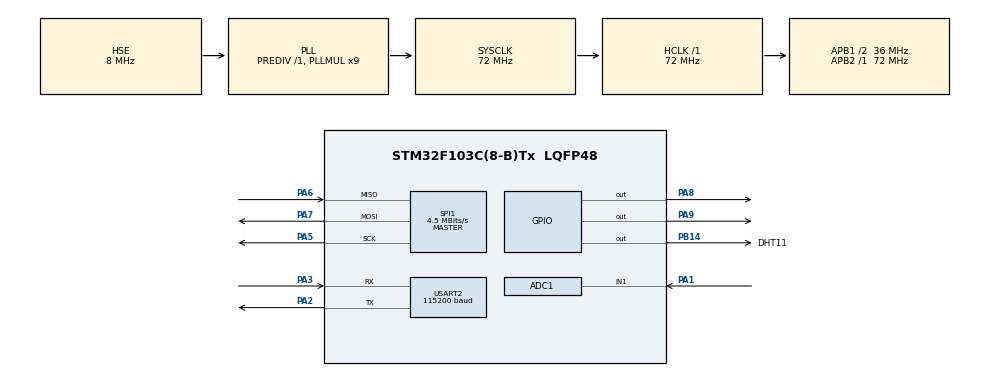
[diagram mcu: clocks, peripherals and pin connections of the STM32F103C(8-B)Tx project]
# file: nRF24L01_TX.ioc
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ADC1.Channel-0\#ChannelRegularConversion=ADC_CHANNEL_1
ADC1.ContinuousConvMode=ENABLE
ADC1.NbrOfConversionFlag=1
ADC1.Rank-0\#ChannelRegularConversion=1
ADC1.SamplingTime-0\#ChannelRegularConversion=ADC_SAMPLETIME_1CYCLE_5
ADC1.master=1
Mcu.Family=STM32F1
Mcu.Name=STM32F103C(8-B)Tx
Mcu.Package=LQFP48
NVIC.PriorityGroup=NVIC_PRIORITYGROUP_4
NVIC.TIM4_IRQn=true\:1\:0\:true\:false\:true\:true\:true
PA1.Signal=ADCx_IN1
PA13.Mode=Serial_Wire
PA13.Signal=SYS_JTMS-SWDIO
PA14.Mode=Serial_Wire
PA14.Signal=SYS_JTCK-SWCLK
PA2.Mode=Asynchronous
PA2.Signal=USART2_TX
PA3.Mode=Asynchronous
PA3.Signal=USART2_RX
PA5.Mode=Full_Duplex_Master
PA5.Signal=SPI1_SCK
PA6.Mode=Full_Duplex_Master
PA6.Signal=SPI1_MISO
PA7.Mode=Full_Duplex_Master
PA7.Signal=SPI1_MOSI
PA8.Signal=GPIO_Output
PA9.Signal=GPIO_Output
PB14.GPIO_Label=DHT11
PB14.GPIO_Speed=GPIO_SPEED_FREQ_HIGH
PB14.PinState=GPIO_PIN_SET
PB14.Signal=GPIO_Output
PD0-OSC_IN.Mode=HSE-External-Oscillator
PD0-OSC_IN.Signal=RCC_OSC_IN
PD1-OSC_OUT.Mode=HSE-External-Oscillator
PD1-OSC_OUT.Signal=RCC_OSC_OUT
ProjectManager.HeapSize=0x200
ProjectManager.StackSize=0x400
ProjectManager.TargetToolchain=MDK-ARM V5
RCC.ADCPresc=RCC_ADCPCLK2_DIV6
RCC.AHBFreq_Value=72000000
RCC.APB1CLKDivider=RCC_HCLK_DIV2
RCC.APB1Freq_Value=36000000
RCC.APB1TimFreq_Value=72000000
RCC.APB2Freq_Value=72000000
RCC.APB2TimFreq_Value=72000000
RCC.HCLKFreq_Value=72000000
RCC.PLLMUL=RCC_PLL_MUL9
RCC.PLLSourceVirtual=RCC_PLLSOURCE_HSE
RCC.SYSCLKFreq_VALUE=72000000
RCC.SYSCLKSource=RCC_SYSCLKSOURCE_PLLCLK
RCC.USBFreq_Value=72000000
SH.ADCx_IN1.0=ADC1_IN1,IN1
SPI1.BaudRatePrescaler=SPI_BAUDRATEPRESCALER_16
SPI1.CalculateBaudRate=4.5 MBits/s
SPI1.Direction=SPI_DIRECTION_2LINES
SPI1.Mode=SPI_MODE_MASTER
SPI1.VirtualType=VM_MASTER
TIM2.Prescaler=72-1
TIM3.Prescaler=72-1
TIM4.Period=9999
TIM4.Prescaler=36000-1
USART2.BaudRate=115200
USART2.VirtualMode=VM_ASYNC
VP_TIM2_VS_ClockSourceINT.Mode=Internal
VP_TIM3_VS_ClockSourceINT.Mode=Internal
VP_TIM4_VS_ClockSourceINT.Mode=Internal
board=custom

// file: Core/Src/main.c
/* USER CODE BEGIN Header */
/**
  ******************************************************************************
  * @file           : main.c
  * @brief          : Main program body
  ******************************************************************************
  * @attention
  *
  * <h2><center>&copy; Copyright (c) 2021 STMicroelectronics.
  * All rights reserved.</center></h2>
  *
  * This software component is licensed by ST under BSD 3-Clause license,
  * the "License"; You may not use this file except in compliance with the
  * License. You may obtain a copy of the License at:
  *                        opensource.org/licenses/BSD-3-Clause
  *
  ******************************************************************************
  */
/* USER CODE END Header */
#include "main.h"

/* USER CODE BEGIN Includes */
#include "NRF24L01.h"
#include "stdio.h"
#include "string.h"
#include "stdint.h"
/* USER CODE END Includes */

ADC_HandleTypeDef hadc1;

SPI_HandleTypeDef hspi1;

TIM_HandleTypeDef htim2;
TIM_HandleTypeDef htim3;
TIM_HandleTypeDef htim4;

UART_HandleTypeDef huart2;

/* USER CODE BEGIN PV */
uint8_t TxAdrdress[]={0x00,0xDD,0xCC,0xBB,0xAA};
//uint8_t TxAdrdress1[]={0x11,0xDD,0xCC,0xBB,0xAA};
//uint8_t TxAdrdress2[]={0x22,0xDD,0xCC,0xBB,0xAA};

uint8_t TxData1[32];

float voltage_value,adc_value,moisture_value;
int moisturefinal=0;

uint16_t rh_byte1,rh_byte2, temp_byte1,temp_byte2;
uint16_t sum,rh,temp,presence=0;
int temperature=0,humidity=0;
/* USER CODE END PV */

void SystemClock_Config(void);
static void MX_GPIO_Init(void);
static void MX_SPI1_Init(void);
static void MX_TIM2_Init(void);
static void MX_USART2_UART_Init(void);
static void MX_TIM4_Init(void);
static void MX_ADC1_Init(void);
static void MX_TIM3_Init(void);
/* USER CODE BEGIN PFP */
void delay(uint16_t time)
{
	__HAL_TIM_SET_COUNTER(&htim2,0);
	while((__HAL_TIM_GET_COUNTER(&htim2))<time);
}

void set_pin_output(GPIO_TypeDef *GPIOx, uint16_t GPIO_Pin)
{
	GPIO_InitTypeDef GPIO_InitStruct = {0};
	GPIO_InitStruct.Pin = GPIO_Pin;
  GPIO_InitStruct.Mode = GPIO_MODE_OUTPUT_PP;
  GPIO_InitStruct.Speed = GPIO_SPEED_FREQ_LOW;
  HAL_GPIO_Init(GPIOx, &GPIO_InitStruct);
}
void set_pin_input(GPIO_TypeDef *GPIOx, uint16_t GPIO_Pin)
{
	GPIO_InitTypeDef GPIO_InitStruct = {0};
	GPIO_InitStruct.Pin = GPIO_Pin;
  GPIO_InitStruct.Mode = GPIO_MODE_INPUT;
  GPIO_InitStruct.Pull = GPIO_NOPULL;
  HAL_GPIO_Init(GPIOx, &GPIO_InitStruct);
}
void dht11_init(void)
{
	set_pin_output(DHT11_GPIO_Port,DHT11_Pin);
	HAL_GPIO_WritePin(DHT11_GPIO_Port,DHT11_Pin,GPIO_PIN_RESET);
	HAL_Delay(25);
	HAL_GPIO_WritePin(DHT11_GPIO_Port,DHT11_Pin,GPIO_PIN_SET);
	delay(30);
	set_pin_input(DHT11_GPIO_Port,DHT11_Pin);

}
short check_response(){
  delay(40);
  if(!HAL_GPIO_ReadPin(DHT11_GPIO_Port,DHT11_Pin)){                     // Read and test if connection pin is low
    delay(80);
    if(HAL_GPIO_ReadPin(DHT11_GPIO_Port,DHT11_Pin)){                    // Read and test if connection pin is high
      delay(50);
      return 1;}
    }
	return 0;
}

uint8_t read(void)
{
	uint8_t i,j;
	for(j=0;j<8;j++)
	{
		while (!(HAL_GPIO_ReadPin (DHT11_GPIO_Port,DHT11_Pin)));
		delay(40);
		if(!HAL_GPIO_ReadPin (DHT11_GPIO_Port, DHT11_Pin))
		{
			i&= ~(1<<(7-j));
		}
		else
		{
			i|= (1<<(7-j));
		}
		while ((HAL_GPIO_ReadPin (DHT11_GPIO_Port,DHT11_Pin)));

  }
			return i	;
}
void ParseData(char * TxData, uint8_t temp, uint8_t humi, uint8_t moil){
	char Temperature[10];
	char Humidity[10];
	char Doamdat[10];
	for (int i=0;i<strlen(TxData);i++){
		TxData[i]=0;
	}
	sprintf(Doamdat,"%d",moil);
	sprintf(Temperature,"%d",temp);
	sprintf(Humidity,"%d",humi);

	strcat(TxData,"{\"T1\":\"");
	strcat(TxData,Temperature);
	strcat(TxData,"\",");

	strcat(TxData,"\"H1\":\"");
	strcat(TxData,Humidity);
	strcat(TxData,"\",");

	strcat(TxData,"\"M1\":\"");
	strcat(TxData,Doamdat);
	strcat(TxData,"\"}");
}
void getdata(){
	HAL_TIM_Base_Start(&htim2);
	dht11_init();
	presence=check_response();
	rh_byte1=read();
	rh_byte2=read();
	temp_byte1=read();
	temp_byte2=read();
	sum=read();
	temp=temp_byte1;
	rh=rh_byte1;
	temperature=(int) temp;//temp
	humidity=(int) rh;//humi
	adc_value= HAL_ADC_GetValue(&hadc1);
	voltage_value=(adc_value/4096)*3.3;
	moisture_value= (100-(voltage_value/3.3)*100);
	moisturefinal = (int)moisture_value;//mois
}
/* USER CODE END PFP */

/* USER CODE BEGIN 0 */
//void HAL_GPIO_EXTI_Callback(uint16_t GPIO_Pin)
//{
//  /* Prevent unused argument(s) compilation warning */
//  UNUSED(GPIO_Pin);
//
//		HAL_GPIO_TogglePin(GPIOA,GPIO_PIN_1);
////	HAL_UART_Transmit(&huart2, "hello",5,100);

//
////	HAL_GPIO_WritePin(GPIOA,GPIO_PIN_1,GPIO_PIN_SET);
//  /* NOTE: This function Should not be modified, when the callback is needed,
//           the HAL_GPIO_EXTI_Callback could be implemented in the user file
//   */
//}
#ifdef __GNUC__
#define PUTCHAR_PROTOTYPE int __io_putchar(int ch)
#else
#define PUTCHAR_PROTOTYPE int fputc(int ch, FILE *f)
#endif /* __GNUC__ */

/**
  * @brief  Retargets the C library printf function to the USART.
  * @param  None
  * @retval None
  */
PUTCHAR_PROTOTYPE
{
  HAL_UART_Transmit(&huart2, (uint8_t *)&ch, 1, HAL_MAX_DELAY);
  return ch;
}

void HAL_TIM_PeriodElapsedCallback(TIM_HandleTypeDef *htim)
{
  /* Prevent unused argument(s) compilation warning */
	HAL_ResumeTick();
	getdata();
	ParseData((char *)TxData1,temperature, humidity,moisturefinal);

	NRF24_Transmit(TxData1);

//	printf("hello");
//	printf("%s",TxData1);`

  /* NOTE : This function should not be modified, when the callback is needed,
            the HAL_TIM_PeriodElapsedCallback could be implemented in the user file
   */
}
/* USER CODE END 0 */

int main(void)
{

  /* MCU Configuration--------------------------------------------------------*/

  /* Reset of all peripherals, Initializes the Flash interface and the Systick. */
  HAL_Init();

  /* Configure the system clock */
  SystemClock_Config();

  /* Initialize all configured peripherals */
  MX_GPIO_Init();
  MX_SPI1_Init();
  MX_TIM2_Init();
  MX_USART2_UART_Init();
  MX_TIM4_Init();
  MX_ADC1_Init();
  MX_TIM3_Init();
  /* USER CODE BEGIN 2 */
	HAL_TIM_Base_Start_IT(&htim4);
	HAL_ADC_Start(&hadc1);
	NRF24_Init();
	NRF24_TxMode(TxAdrdress, 10);

  /* USER CODE END 2 */

  /* Infinite loop */
  while (1)
  {

    /* USER CODE BEGIN 3 */
		HAL_SuspendTick();
		HAL_PWR_EnterSLEEPMode(PWR_LOWPOWERREGULATOR_ON, PWR_SLEEPENTRY_WFI);
	}
  /* USER CODE END 3 */
}

void SystemClock_Config(void)
{
  RCC_OscInitTypeDef RCC_OscInitStruct = {0};
  RCC_ClkInitTypeDef RCC_ClkInitStruct = {0};
  RCC_PeriphCLKInitTypeDef PeriphClkInit = {0};

  /** Initializes the RCC Oscillators according to the specified parameters
  * in the RCC_OscInitTypeDef structure.
  */
  RCC_OscInitStruct.OscillatorType = RCC_OSCILLATORTYPE_HSE;
  RCC_OscInitStruct.HSEState = RCC_HSE_ON;
  RCC_OscInitStruct.HSEPredivValue = RCC_HSE_PREDIV_DIV1;
  RCC_OscInitStruct.HSIState = RCC_HSI_ON;
  RCC_OscInitStruct.PLL.PLLState = RCC_PLL_ON;
  RCC_OscInitStruct.PLL.PLLSource = RCC_PLLSOURCE_HSE;
  RCC_OscInitStruct.PLL.PLLMUL = RCC_PLL_MUL9;
  if (HAL_RCC_OscConfig(&RCC_OscInitStruct) != HAL_OK)
  {
    Error_Handler();
  }
  /** Initializes the CPU, AHB and APB buses clocks
  */
  RCC_ClkInitStruct.ClockType = RCC_CLOCKTYPE_HCLK|RCC_CLOCKTYPE_SYSCLK
                              |RCC_CLOCKTYPE_PCLK1|RCC_CLOCKTYPE_PCLK2;
  RCC_ClkInitStruct.SYSCLKSource = RCC_SYSCLKSOURCE_PLLCLK;
  RCC_ClkInitStruct.AHBCLKDivider = RCC_SYSCLK_DIV1;
  RCC_ClkInitStruct.APB1CLKDivider = RCC_HCLK_DIV2;
  RCC_ClkInitStruct.APB2CLKDivider = RCC_HCLK_DIV1;

  if (HAL_RCC_ClockConfig(&RCC_ClkInitStruct, FLASH_LATENCY_2) != HAL_OK)
  {
    Error_Handler();
  }
  PeriphClkInit.PeriphClockSelection = RCC_PERIPHCLK_ADC;
  PeriphClkInit.AdcClockSelection = RCC_ADCPCLK2_DIV6;
  if (HAL_RCCEx_PeriphCLKConfig(&PeriphClkInit) != HAL_OK)
  {
    Error_Handler();
  }
}

static void MX_ADC1_Init(void)
{

  ADC_ChannelConfTypeDef sConfig = {0};

  /** Common config
  */
  hadc1.Instance = ADC1;
  hadc1.Init.ScanConvMode = ADC_SCAN_DISABLE;
  hadc1.Init.ContinuousConvMode = ENABLE;
  hadc1.Init.DiscontinuousConvMode = DISABLE;
  hadc1.Init.ExternalTrigConv = ADC_SOFTWARE_START;
  hadc1.Init.DataAlign = ADC_DATAALIGN_RIGHT;
  hadc1.Init.NbrOfConversion = 1;
  if (HAL_ADC_Init(&hadc1) != HAL_OK)
  {
    Error_Handler();
  }
  /** Configure Regular Channel
  */
  sConfig.Channel = ADC_CHANNEL_1;
  sConfig.Rank = ADC_REGULAR_RANK_1;
  sConfig.SamplingTime = ADC_SAMPLETIME_1CYCLE_5;
  if (HAL_ADC_ConfigChannel(&hadc1, &sConfig) != HAL_OK)
  {
    Error_Handler();
  }

}

static void MX_SPI1_Init(void)
{

  /* SPI1 parameter configuration*/
  hspi1.Instance = SPI1;
  hspi1.Init.Mode = SPI_MODE_MASTER;
  hspi1.Init.Direction = SPI_DIRECTION_2LINES;
  hspi1.Init.DataSize = SPI_DATASIZE_8BIT;
  hspi1.Init.CLKPolarity = SPI_POLARITY_LOW;
  hspi1.Init.CLKPhase = SPI_PHASE_1EDGE;
  hspi1.Init.NSS = SPI_NSS_SOFT;
  hspi1.Init.BaudRatePrescaler = SPI_BAUDRATEPRESCALER_16;
  hspi1.Init.FirstBit = SPI_FIRSTBIT_MSB;
  hspi1.Init.TIMode = SPI_TIMODE_DISABLE;
  hspi1.Init.CRCCalculation = SPI_CRCCALCULATION_DISABLE;
  hspi1.Init.CRCPolynomial = 10;
  if (HAL_SPI_Init(&hspi1) != HAL_OK)
  {
    Error_Handler();
  }

}

static void MX_TIM2_Init(void)
{

  TIM_ClockConfigTypeDef sClockSourceConfig = {0};
  TIM_MasterConfigTypeDef sMasterConfig = {0};

  htim2.Instance = TIM2;
  htim2.Init.Prescaler = 72-1;
  htim2.Init.CounterMode = TIM_COUNTERMODE_UP;
  htim2.Init.Period = 65535;
  htim2.Init.ClockDivision = TIM_CLOCKDIVISION_DIV1;
  htim2.Init.AutoReloadPreload = TIM_AUTORELOAD_PRELOAD_DISABLE;
  if (HAL_TIM_Base_Init(&htim2) != HAL_OK)
  {
    Error_Handler();
  }
  sClockSourceConfig.ClockSource = TIM_CLOCKSOURCE_INTERNAL;
  if (HAL_TIM_ConfigClockSource(&htim2, &sClockSourceConfig) != HAL_OK)
  {
    Error_Handler();
  }
  sMasterConfig.MasterOutputTrigger = TIM_TRGO_RESET;
  sMasterConfig.MasterSlaveMode = TIM_MASTERSLAVEMODE_DISABLE;
  if (HAL_TIMEx_MasterConfigSynchronization(&htim2, &sMasterConfig) != HAL_OK)
  {
    Error_Handler();
  }

}

static void MX_TIM3_Init(void)
{

  TIM_ClockConfigTypeDef sClockSourceConfig = {0};
  TIM_MasterConfigTypeDef sMasterConfig = {0};

  htim3.Instance = TIM3;
  htim3.Init.Prescaler = 72-1;
  htim3.Init.CounterMode = TIM_COUNTERMODE_UP;
  htim3.Init.Period = 65535;
  htim3.Init.ClockDivision = TIM_CLOCKDIVISION_DIV1;
  htim3.Init.AutoReloadPreload = TIM_AUTORELOAD_PRELOAD_DISABLE;
  if (HAL_TIM_Base_Init(&htim3) != HAL_OK)
  {
    Error_Handler();
  }
  sClockSourceConfig.ClockSource = TIM_CLOCKSOURCE_INTERNAL;
  if (HAL_TIM_ConfigClockSource(&htim3, &sClockSourceConfig) != HAL_OK)
  {
    Error_Handler();
  }
  sMasterConfig.MasterOutputTrigger = TIM_TRGO_RESET;
  sMasterConfig.MasterSlaveMode = TIM_MASTERSLAVEMODE_DISABLE;
  if (HAL_TIMEx_MasterConfigSynchronization(&htim3, &sMasterConfig) != HAL_OK)
  {
    Error_Handler();
  }

}

static void MX_TIM4_Init(void)
{

  TIM_ClockConfigTypeDef sClockSourceConfig = {0};
  TIM_MasterConfigTypeDef sMasterConfig = {0};

  htim4.Instance = TIM4;
  htim4.Init.Prescaler = 36000-1;
  htim4.Init.CounterMode = TIM_COUNTERMODE_UP;
  htim4.Init.Period = 9999;
  htim4.Init.ClockDivision = TIM_CLOCKDIVISION_DIV1;
  htim4.Init.AutoReloadPreload = TIM_AUTORELOAD_PRELOAD_DISABLE;
  if (HAL_TIM_Base_Init(&htim4) != HAL_OK)
  {
    Error_Handler();
  }
  sClockSourceConfig.ClockSource = TIM_CLOCKSOURCE_INTERNAL;
  if (HAL_TIM_ConfigClockSource(&htim4, &sClockSourceConfig) != HAL_OK)
  {
    Error_Handler();
  }
  sMasterConfig.MasterOutputTrigger = TIM_TRGO_RESET;
  sMasterConfig.MasterSlaveMode = TIM_MASTERSLAVEMODE_DISABLE;
  if (HAL_TIMEx_MasterConfigSynchronization(&htim4, &sMasterConfig) != HAL_OK)
  {
    Error_Handler();
  }

}

static void MX_USART2_UART_Init(void)
{

  huart2.Instance = USART2;
  huart2.Init.BaudRate = 115200;
  huart2.Init.WordLength = UART_WORDLENGTH_8B;
  huart2.Init.StopBits = UART_STOPBITS_1;
  huart2.Init.Parity = UART_PARITY_NONE;
  huart2.Init.Mode = UART_MODE_TX_RX;
  huart2.Init.HwFlowCtl = UART_HWCONTROL_NONE;
  huart2.Init.OverSampling = UART_OVERSAMPLING_16;
  if (HAL_UART_Init(&huart2) != HAL_OK)
  {
    Error_Handler();
  }

}

static void MX_GPIO_Init(void)
{
  GPIO_InitTypeDef GPIO_InitStruct = {0};

  /* GPIO Ports Clock Enable */
  __HAL_RCC_GPIOD_CLK_ENABLE();
  __HAL_RCC_GPIOA_CLK_ENABLE();
  __HAL_RCC_GPIOB_CLK_ENABLE();

  /*Configure GPIO pin Output Level */
  HAL_GPIO_WritePin(DHT11_GPIO_Port, DHT11_Pin, GPIO_PIN_SET);

  /*Configure GPIO pin Output Level */
  HAL_GPIO_WritePin(GPIOA, GPIO_PIN_8|GPIO_PIN_9, GPIO_PIN_RESET);

  /*Configure GPIO pin : DHT11_Pin */
  GPIO_InitStruct.Pin = DHT11_Pin;
  GPIO_InitStruct.Mode = GPIO_MODE_OUTPUT_PP;
  GPIO_InitStruct.Pull = GPIO_NOPULL;
  GPIO_InitStruct.Speed = GPIO_SPEED_FREQ_HIGH;
  HAL_GPIO_Init(DHT11_GPIO_Port, &GPIO_InitStruct);

  /*Configure GPIO pins : PA8 PA9 */
  GPIO_InitStruct.Pin = GPIO_PIN_8|GPIO_PIN_9;
  GPIO_InitStruct.Mode = GPIO_MODE_OUTPUT_PP;
  GPIO_InitStruct.Pull = GPIO_NOPULL;
  GPIO_InitStruct.Speed = GPIO_SPEED_FREQ_LOW;
  HAL_GPIO_Init(GPIOA, &GPIO_InitStruct);

}

void Error_Handler(void)
{
  __disable_irq();
  while (1)
  {
  }
}

/************************ (C) COPYRIGHT STMicroelectronics *****END OF FILE****/
